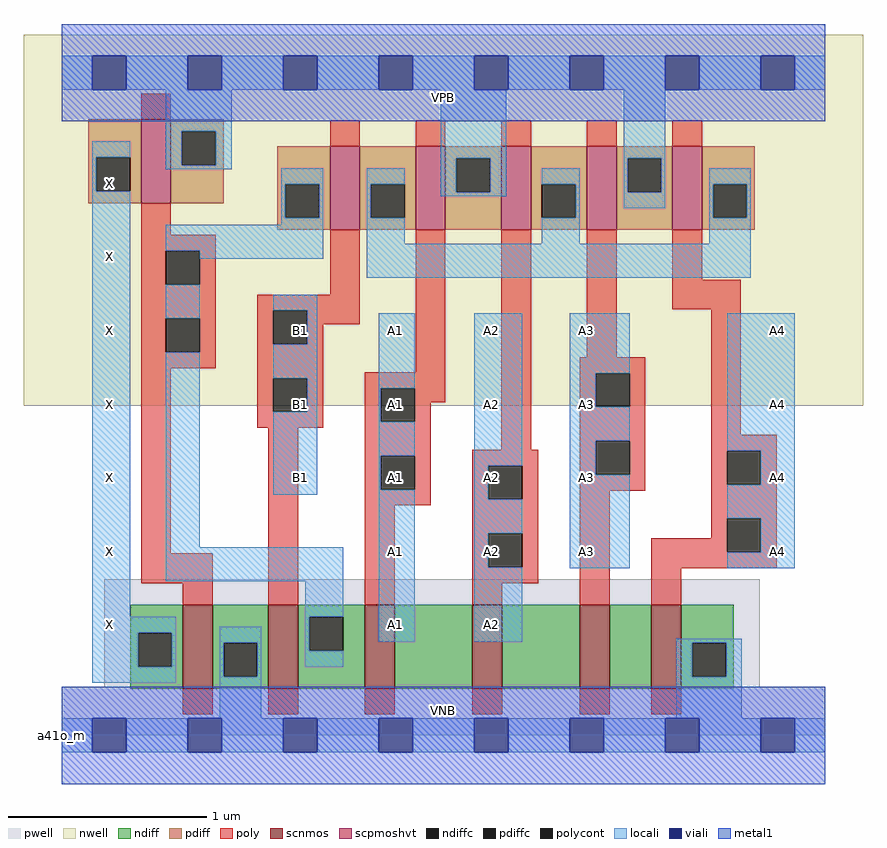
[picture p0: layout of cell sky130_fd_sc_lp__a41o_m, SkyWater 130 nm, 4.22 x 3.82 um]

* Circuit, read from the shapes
.subckt sky130_fd_sc_lp__a41o_m A1 A2 A3 A4 B1 VGND VNB VPB VPWR X
XM1 VGND n1 X VNB sky130_fd_pr__nfet_01v8 w=0.42 l=0.15
XM2 n1 B1 VGND VNB sky130_fd_pr__nfet_01v8 w=0.42 l=0.15
XM3 n2 A1 n1 VNB sky130_fd_pr__nfet_01v8 w=0.42 l=0.15
XM4 n3 A2 n2 VNB sky130_fd_pr__nfet_01v8 w=0.42 l=0.15
XM5 n4 A3 n3 VNB sky130_fd_pr__nfet_01v8 w=0.42 l=0.15
XM6 VGND A4 n4 VNB sky130_fd_pr__nfet_01v8 w=0.42 l=0.15
XM7 VPWR n1 X VPB sky130_fd_pr__pfet_01v8_hvt w=0.42 l=0.15
XM8 n5 B1 n1 VPB sky130_fd_pr__pfet_01v8_hvt w=0.42 l=0.15
XM9 VPWR A1 n5 VPB sky130_fd_pr__pfet_01v8_hvt w=0.42 l=0.15
XM10 n5 A2 VPWR VPB sky130_fd_pr__pfet_01v8_hvt w=0.42 l=0.15
XM11 VPWR A3 n5 VPB sky130_fd_pr__pfet_01v8_hvt w=0.42 l=0.15
XM12 n5 A4 VPWR VPB sky130_fd_pr__pfet_01v8_hvt w=0.42 l=0.15
.ends

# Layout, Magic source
magic
tech sky130A
magscale 1 2
<< nwell >>
rect -38 331 806 704
<< pwell >>
rect 43 49 702 157
rect 0 0 768 49
<< scnmos >>
rect 122 47 152 131
rect 208 47 238 131
rect 305 47 335 131
rect 413 47 443 131
rect 521 47 551 131
rect 593 47 623 131
<< scpmoshvt >>
rect 80 535 110 619
rect 270 508 300 592
rect 356 508 386 592
rect 442 508 472 592
rect 528 508 558 592
rect 614 508 644 592
<< ndiff >>
rect 69 103 122 131
rect 69 69 77 103
rect 111 69 122 103
rect 69 47 122 69
rect 152 93 208 131
rect 152 59 163 93
rect 197 59 208 93
rect 152 47 208 59
rect 238 119 305 131
rect 238 85 249 119
rect 283 85 305 119
rect 238 47 305 85
rect 335 47 413 131
rect 443 47 521 131
rect 551 47 593 131
rect 623 93 676 131
rect 623 59 634 93
rect 668 59 676 93
rect 623 47 676 59
<< pdiff >>
rect 27 581 80 619
rect 27 547 35 581
rect 69 547 80 581
rect 27 535 80 547
rect 110 607 163 619
rect 110 573 121 607
rect 155 573 163 607
rect 110 535 163 573
rect 217 554 270 592
rect 217 520 225 554
rect 259 520 270 554
rect 217 508 270 520
rect 300 554 356 592
rect 300 520 311 554
rect 345 520 356 554
rect 300 508 356 520
rect 386 580 442 592
rect 386 546 397 580
rect 431 546 442 580
rect 386 508 442 546
rect 472 554 528 592
rect 472 520 483 554
rect 517 520 528 554
rect 472 508 528 520
rect 558 580 614 592
rect 558 546 569 580
rect 603 546 614 580
rect 558 508 614 546
rect 644 554 697 592
rect 644 520 655 554
rect 689 520 697 554
rect 644 508 697 520
<< ndiffc >>
rect 77 69 111 103
rect 163 59 197 93
rect 249 85 283 119
rect 634 59 668 93
<< pdiffc >>
rect 35 547 69 581
rect 121 573 155 607
rect 225 520 259 554
rect 311 520 345 554
rect 397 546 431 580
rect 483 520 517 554
rect 569 546 603 580
rect 655 520 689 554
<< poly >>
rect 80 619 110 645
rect 270 592 300 618
rect 356 592 386 618
rect 442 592 472 618
rect 528 592 558 618
rect 614 592 644 618
rect 80 503 110 535
rect 80 487 155 503
rect 80 453 105 487
rect 139 453 155 487
rect 80 419 155 453
rect 270 443 300 508
rect 80 385 105 419
rect 139 385 155 419
rect 80 369 155 385
rect 197 427 300 443
rect 197 393 213 427
rect 247 413 300 427
rect 247 393 263 413
rect 80 183 110 369
rect 197 359 263 393
rect 356 365 386 508
rect 197 325 213 359
rect 247 325 263 359
rect 197 309 263 325
rect 305 349 386 365
rect 305 315 321 349
rect 355 335 386 349
rect 355 315 371 335
rect 80 153 152 183
rect 122 131 152 153
rect 208 131 238 309
rect 305 281 371 315
rect 442 287 472 508
rect 528 380 558 508
rect 614 458 644 508
rect 614 428 683 458
rect 521 364 587 380
rect 521 330 537 364
rect 571 330 587 364
rect 521 296 587 330
rect 305 247 321 281
rect 355 247 371 281
rect 305 231 371 247
rect 413 271 479 287
rect 413 237 429 271
rect 463 237 479 271
rect 305 131 335 231
rect 413 203 479 237
rect 413 169 429 203
rect 463 169 479 203
rect 413 153 479 169
rect 521 262 537 296
rect 571 262 587 296
rect 521 246 587 262
rect 653 302 683 428
rect 653 286 719 302
rect 653 252 669 286
rect 703 252 719 286
rect 413 131 443 153
rect 521 131 551 246
rect 653 218 719 252
rect 653 198 669 218
rect 593 184 669 198
rect 703 184 719 218
rect 593 168 719 184
rect 593 131 623 168
rect 122 21 152 47
rect 208 21 238 47
rect 305 21 335 47
rect 413 21 443 47
rect 521 21 551 47
rect 593 21 623 47
<< polycont >>
rect 105 453 139 487
rect 105 385 139 419
rect 213 393 247 427
rect 213 325 247 359
rect 321 315 355 349
rect 537 330 571 364
rect 321 247 355 281
rect 429 237 463 271
rect 429 169 463 203
rect 537 262 571 296
rect 669 252 703 286
rect 669 184 703 218
<< locali >>
rect 0 649 31 683
rect 65 649 127 683
rect 161 649 223 683
rect 257 649 319 683
rect 353 649 415 683
rect 449 649 511 683
rect 545 649 607 683
rect 641 649 703 683
rect 737 649 768 683
rect 105 607 171 649
rect 31 581 69 597
rect 31 547 35 581
rect 105 573 121 607
rect 155 573 171 607
rect 105 569 171 573
rect 381 580 447 649
rect 31 119 69 547
rect 221 554 263 570
rect 221 520 225 554
rect 259 520 263 554
rect 221 513 263 520
rect 105 487 263 513
rect 139 479 263 487
rect 307 554 345 570
rect 307 520 311 554
rect 381 546 397 580
rect 431 546 447 580
rect 565 580 607 649
rect 381 542 447 546
rect 483 554 521 570
rect 307 494 345 520
rect 517 520 521 554
rect 565 546 569 580
rect 603 546 607 580
rect 565 530 607 546
rect 651 554 693 570
rect 483 494 521 520
rect 651 520 655 554
rect 689 520 693 554
rect 651 494 693 520
rect 307 460 693 494
rect 105 419 139 453
rect 105 189 139 385
rect 213 427 257 443
rect 247 393 257 427
rect 213 359 257 393
rect 247 325 257 359
rect 213 242 257 325
rect 319 349 355 424
rect 319 315 321 349
rect 319 281 355 315
rect 319 247 321 281
rect 105 155 283 189
rect 245 119 283 155
rect 31 103 115 119
rect 31 69 77 103
rect 111 69 115 103
rect 31 53 115 69
rect 159 93 201 109
rect 159 59 163 93
rect 197 59 201 93
rect 245 85 249 119
rect 319 94 355 247
rect 415 271 463 424
rect 415 237 429 271
rect 415 203 463 237
rect 415 169 429 203
rect 415 94 463 169
rect 511 364 571 424
rect 511 330 537 364
rect 511 296 571 330
rect 511 262 537 296
rect 511 168 571 262
rect 669 286 737 424
rect 703 252 737 286
rect 669 218 737 252
rect 703 184 737 218
rect 669 168 737 184
rect 245 69 283 85
rect 618 93 684 97
rect 159 17 201 59
rect 618 59 634 93
rect 668 59 684 93
rect 618 17 684 59
rect 0 -17 31 17
rect 65 -17 127 17
rect 161 -17 223 17
rect 257 -17 319 17
rect 353 -17 415 17
rect 449 -17 511 17
rect 545 -17 607 17
rect 641 -17 703 17
rect 737 -17 768 17
<< viali >>
rect 31 649 65 683
rect 127 649 161 683
rect 223 649 257 683
rect 319 649 353 683
rect 415 649 449 683
rect 511 649 545 683
rect 607 649 641 683
rect 703 649 737 683
rect 31 -17 65 17
rect 127 -17 161 17
rect 223 -17 257 17
rect 319 -17 353 17
rect 415 -17 449 17
rect 511 -17 545 17
rect 607 -17 641 17
rect 703 -17 737 17
<< metal1 >>
rect 0 683 768 715
rect 0 649 31 683
rect 65 649 127 683
rect 161 649 223 683
rect 257 649 319 683
rect 353 649 415 683
rect 449 649 511 683
rect 545 649 607 683
rect 641 649 703 683
rect 737 649 768 683
rect 0 617 768 649
rect 0 17 768 49
rect 0 -17 31 17
rect 65 -17 127 17
rect 161 -17 223 17
rect 257 -17 319 17
rect 353 -17 415 17
rect 449 -17 511 17
rect 545 -17 607 17
rect 641 -17 703 17
rect 737 -17 768 17
rect 0 -49 768 -17
<< labels >>
flabel pwell s 0 0 768 49 0 FreeSans 200 0 0 0 VNB
port 7 nsew ground bidirectional
flabel nwell s 0 617 768 666 0 FreeSans 200 0 0 0 VPB
port 8 nsew power bidirectional
rlabel comment s 0 0 0 0 4 a41o_m
flabel metal1 s 0 617 768 666 0 FreeSans 340 0 0 0 VPWR
port 9 nsew power bidirectional
flabel metal1 s 0 0 768 49 0 FreeSans 340 0 0 0 VGND
port 6 nsew ground bidirectional
flabel locali s 319 94 353 128 0 FreeSans 340 0 0 0 A1
port 1 nsew signal input
flabel locali s 319 168 353 202 0 FreeSans 340 0 0 0 A1
port 1 nsew signal input
flabel locali s 319 242 353 276 0 FreeSans 340 0 0 0 A1
port 1 nsew signal input
flabel locali s 319 316 353 350 0 FreeSans 340 0 0 0 A1
port 1 nsew signal input
flabel locali s 319 390 353 424 0 FreeSans 340 0 0 0 A1
port 1 nsew signal input
flabel locali s 415 94 449 128 0 FreeSans 340 0 0 0 A2
port 2 nsew signal input
flabel locali s 415 168 449 202 0 FreeSans 340 0 0 0 A2
port 2 nsew signal input
flabel locali s 415 242 449 276 0 FreeSans 340 0 0 0 A2
port 2 nsew signal input
flabel locali s 415 316 449 350 0 FreeSans 340 0 0 0 A2
port 2 nsew signal input
flabel locali s 415 390 449 424 0 FreeSans 340 0 0 0 A2
port 2 nsew signal input
flabel locali s 511 168 545 202 0 FreeSans 340 0 0 0 A3
port 3 nsew signal input
flabel locali s 511 242 545 276 0 FreeSans 340 0 0 0 A3
port 3 nsew signal input
flabel locali s 511 316 545 350 0 FreeSans 340 0 0 0 A3
port 3 nsew signal input
flabel locali s 511 390 545 424 0 FreeSans 340 0 0 0 A3
port 3 nsew signal input
flabel locali s 703 168 737 202 0 FreeSans 340 0 0 0 A4
port 4 nsew signal input
flabel locali s 703 242 737 276 0 FreeSans 340 0 0 0 A4
port 4 nsew signal input
flabel locali s 703 316 737 350 0 FreeSans 340 0 0 0 A4
port 4 nsew signal input
flabel locali s 703 390 737 424 0 FreeSans 340 0 0 0 A4
port 4 nsew signal input
flabel locali s 223 242 257 276 0 FreeSans 340 0 0 0 B1
port 5 nsew signal input
flabel locali s 223 316 257 350 0 FreeSans 340 0 0 0 B1
port 5 nsew signal input
flabel locali s 223 390 257 424 0 FreeSans 340 0 0 0 B1
port 5 nsew signal input
flabel locali s 31 94 65 128 0 FreeSans 340 0 0 0 X
port 10 nsew signal output
flabel locali s 31 168 65 202 0 FreeSans 340 0 0 0 X
port 10 nsew signal output
flabel locali s 31 242 65 276 0 FreeSans 340 0 0 0 X
port 10 nsew signal output
flabel locali s 31 316 65 350 0 FreeSans 340 0 0 0 X
port 10 nsew signal output
flabel locali s 31 390 65 424 0 FreeSans 340 0 0 0 X
port 10 nsew signal output
flabel locali s 31 464 65 498 0 FreeSans 340 0 0 0 X
port 10 nsew signal output
flabel locali s 31 538 65 572 0 FreeSans 340 0 0 0 X
port 10 nsew signal output
<< properties >>
string LEFsite unit
string LEFclass CORE
string FIXED_BBOX 0 0 768 666
string GDS_FILE $PDKPATH/libs.ref/sky130_fd_sc_lp/gds/sky130_fd_sc_lp.gds
string LEFsymmetry X Y R90
string GDS_END 5509282
string GDS_START 5499854
<< end >>
